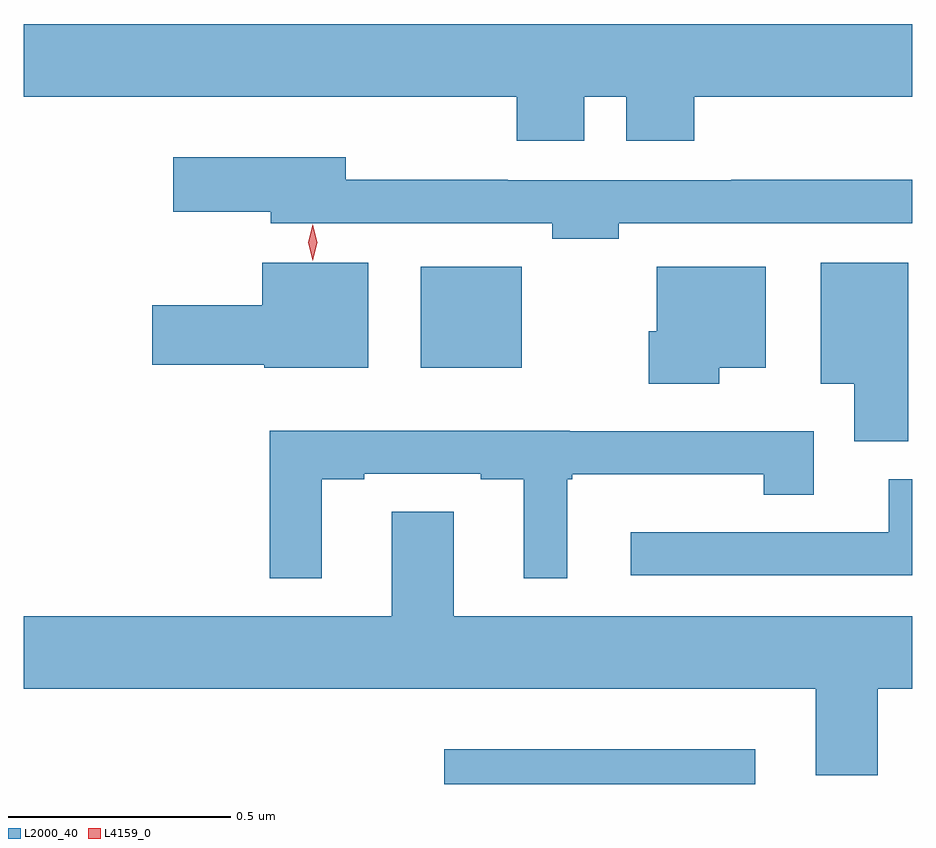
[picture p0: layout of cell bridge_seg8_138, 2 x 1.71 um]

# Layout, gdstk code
import gdstk
lib = gdstk.Library(unit=1e-6, precision=1e-09)
def R(c, l, rs):  # rectangles x0, y0, x1, y1
    for r in rs: c.add(gdstk.rectangle(r[:2], r[2:], *l))
def P(c, l, *ps):  # polygons
    for p in ps: c.add(gdstk.Polygon(p, *l))
L2000_40 = (2000, 40)
L4159_0 = (4159, 0)

bridge_seg8_138 = lib.new_cell('bridge_seg8_138')
R(bridge_seg8_138, L2000_40, [(451.041,1150.918,451.741,1150.996), (450.989,1151.855,451.216,1152.082)])
P(bridge_seg8_138, L2000_40, [(451.357,1152.464),(451.451,1152.464),(451.451,1152.365),(451.604,1152.365),(451.604,1152.464),(452.095,1152.464),(452.095,1152.628),(450.095,1152.628),(450.095,1152.464),(451.205,1152.464),(451.205,1152.365),(451.357,1152.365)],
  [(451.434,1152.18),(452.095,1152.18),(452.095,1152.278),(451.687,1152.278),(451.687,1152.276),(451.184,1152.276),(451.184,1152.278),(450.82,1152.278),(450.82,1152.328),(450.432,1152.328),(450.432,1152.206),(450.651,1152.206),(450.651,1152.18),(451.284,1152.18),(451.284,1152.145),(451.434,1152.145)],
  [(452.086,1152.091),(451.889,1152.091),(451.889,1151.819),(451.964,1151.819),(451.964,1151.689),(452.086,1151.689)],
  [(450.871,1152.091),(450.632,1152.091),(450.632,1151.995),(450.384,1151.995),(450.384,1151.861),(450.636,1151.861),(450.636,1151.855),(450.871,1151.855)],
  [(451.66,1151.855),(451.765,1151.855),(451.765,1152.082),(451.52,1152.082),(451.52,1151.937),(451.502,1151.937),(451.502,1151.819),(451.66,1151.819)],
  [(450.766,1151.604),(450.862,1151.604),(450.862,1151.616),(451.124,1151.616),(451.124,1151.604),(451.22,1151.604),(451.22,1151.381),(451.318,1151.381),(451.318,1151.604),(451.33,1151.604),(451.33,1151.615),(451.76,1151.615),(451.76,1151.569),(451.873,1151.569),(451.873,1151.712),(451.324,1151.712),(451.324,1151.713),(450.649,1151.713),(450.649,1151.381),(450.766,1151.381)],
  [(452.095,1151.604),(452.042,1151.604),(452.042,1151.484),(451.461,1151.484),(451.461,1151.388),(452.095,1151.388)],
  [(452.017,1151.132),(452.095,1151.132),(452.095,1151.296),(451.063,1151.296),(451.063,1151.531),(450.923,1151.531),(450.923,1151.296),(450.095,1151.296),(450.095,1151.132),(451.877,1151.132),(451.877,1150.938),(452.017,1150.938)])
P(bridge_seg8_138, L4159_0, [(450.746,1152.095),(450.746,1152.095),(450.736,1152.136),(450.746,1152.177),(450.746,1152.178),(450.746,1152.177),(450.756,1152.136),(450.746,1152.095)])

lib.write_gds('bridge_seg8_138.gds')
